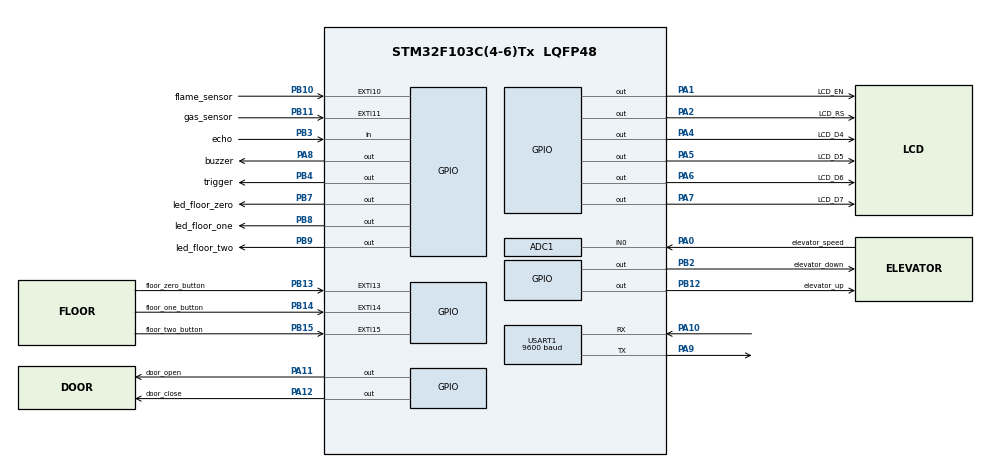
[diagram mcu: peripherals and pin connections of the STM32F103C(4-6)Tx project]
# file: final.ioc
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ADC1.Channel-0\#ChannelRegularConversion=ADC_CHANNEL_0
ADC1.NbrOfConversionFlag=1
ADC1.Rank-0\#ChannelRegularConversion=1
ADC1.SamplingTime-0\#ChannelRegularConversion=ADC_SAMPLETIME_1CYCLE_5
ADC1.master=1
Dma.ADC1.0.Direction=DMA_PERIPH_TO_MEMORY
Dma.ADC1.0.Instance=DMA1_Channel1
Dma.ADC1.0.MemDataAlignment=DMA_MDATAALIGN_HALFWORD
Dma.ADC1.0.MemInc=DMA_MINC_ENABLE
Dma.ADC1.0.Mode=DMA_NORMAL
Dma.ADC1.0.PeriphDataAlignment=DMA_PDATAALIGN_HALFWORD
Dma.ADC1.0.PeriphInc=DMA_PINC_DISABLE
Dma.ADC1.0.Priority=DMA_PRIORITY_LOW
Dma.Request0=ADC1
Mcu.Family=STM32F1
Mcu.Name=STM32F103C(4-6)Tx
Mcu.Package=LQFP48
NVIC.ADC1_2_IRQn=true\:0\:0\:false\:false\:true\:true\:true
NVIC.DMA1_Channel1_IRQn=true\:0\:0\:false\:false\:true\:false\:true
NVIC.EXTI15_10_IRQn=true\:0\:0\:false\:false\:true\:true\:true
NVIC.PriorityGroup=NVIC_PRIORITYGROUP_4
NVIC.TIM1_BRK_IRQn=true\:0\:0\:false\:false\:true\:true\:true
NVIC.TIM1_CC_IRQn=true\:0\:0\:false\:false\:true\:true\:true
NVIC.TIM1_TRG_COM_IRQn=true\:0\:0\:false\:false\:true\:true\:true
NVIC.TIM1_UP_IRQn=true\:0\:0\:false\:false\:true\:true\:true
NVIC.TIM2_IRQn=true\:0\:0\:false\:false\:true\:true\:true
NVIC.USART1_IRQn=true\:0\:0\:false\:false\:true\:true\:true
PA0-WKUP.GPIO_Label=elevator_speed
PA0-WKUP.Signal=ADCx_IN0
PA1.GPIO_Label=LCD_EN
PA1.Signal=GPIO_Output
PA10.Mode=Asynchronous
PA10.Signal=USART1_RX
PA11.GPIO_Label=door_open
PA11.Signal=GPIO_Output
PA12.GPIO_Label=door_close
PA12.Signal=GPIO_Output
PA13.Mode=Serial_Wire
PA13.Signal=SYS_JTMS-SWDIO
PA14.Mode=Serial_Wire
PA14.Signal=SYS_JTCK-SWCLK
PA2.GPIO_Label=LCD_RS
PA2.Signal=GPIO_Output
PA4.GPIO_Label=LCD_D4
PA4.Signal=GPIO_Output
PA5.GPIO_Label=LCD_D5
PA5.Signal=GPIO_Output
PA6.GPIO_Label=LCD_D6
PA6.Signal=GPIO_Output
PA7.GPIO_Label=LCD_D7
PA7.Signal=GPIO_Output
PA8.GPIO_Label=buzzer
PA8.Signal=GPIO_Output
PA9.Mode=Asynchronous
PA9.Signal=USART1_TX
PB10.GPIO_Label=flame_sensor
PB10.GPIO_ModeDefaultEXTI=GPIO_MODE_IT_RISING_FALLING
PB10.Signal=GPXTI10
PB11.GPIO_Label=gas_sensor
PB11.GPIO_ModeDefaultEXTI=GPIO_MODE_IT_RISING_FALLING
PB11.Signal=GPXTI11
PB12.GPIO_Label=elevator_up
PB12.Signal=GPIO_Output
PB13.GPIO_Label=floor_zero_button
PB13.Signal=GPXTI13
PB14.GPIO_Label=floor_one_button
PB14.Signal=GPXTI14
PB15.GPIO_Label=floor_two_button
PB15.Signal=GPXTI15
PB2.GPIO_Label=elevator_down
PB2.Signal=GPIO_Output
PB3.GPIO_Label=echo
PB3.Signal=GPIO_Input
PB4.GPIO_Label=trigger
PB4.Signal=GPIO_Output
PB7.GPIO_Label=led_floor_zero
PB7.Signal=GPIO_Output
PB8.GPIO_Label=led_floor_one
PB8.Signal=GPIO_Output
PB9.GPIO_Label=led_floor_two
PB9.Signal=GPIO_Output
PD0-OSC_IN.Mode=HSE-External-Oscillator
PD0-OSC_IN.Signal=RCC_OSC_IN
PD1-OSC_OUT.Mode=HSE-External-Oscillator
PD1-OSC_OUT.Signal=RCC_OSC_OUT
ProjectManager.HeapSize=0x200
ProjectManager.StackSize=0x400
ProjectManager.TargetToolchain=MDK-ARM V5.32
RCC.APB1Freq_Value=8000000
RCC.APB2Freq_Value=8000000
RCC.USBFreq_Value=8000000
SH.ADCx_IN0.0=ADC1_IN0,IN0
TIM1.Period=63999
TIM1.Prescaler=124
TIM2.Period=63999
TIM2.Prescaler=374
USART1.BaudRate=9600
USART1.VirtualMode=VM_ASYNC
VP_TIM1_VS_ClockSourceINT.Mode=Internal
VP_TIM2_VS_ClockSourceINT.Mode=Internal
board=custom

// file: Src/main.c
/* USER CODE BEGIN Header */
/**
  ******************************************************************************
  * @file           : main.c
  * @brief          : Main program body
  ******************************************************************************
  * @attention
  *
  * Copyright (c) 2022 STMicroelectronics.
  * All rights reserved.
  *
  * This software is licensed under terms that can be found in the LICENSE file
  * in the root directory of this software component.
  * If no LICENSE file comes with this software, it is provided AS-IS.
  *
  ******************************************************************************
  */
/* USER CODE END Header */
#include "main.h"

/* USER CODE BEGIN Includes */
#include "stdio.h"
#include "LCD.h"
/* USER CODE END Includes */

ADC_HandleTypeDef hadc1;
DMA_HandleTypeDef hdma_adc1;

TIM_HandleTypeDef htim1;
TIM_HandleTypeDef htim2;

UART_HandleTypeDef huart1;

/* USER CODE BEGIN PV */

/* USER CODE BEGIN PV */
uint16_t current_floor = 0;
uint16_t target_floor_array[3] = {0};
uint8_t up = 0;
uint8_t down = 0;
uint8_t door_request_array[3] = {0};
uint32_t adc_read = 2048;
uint8_t transmit_flag = 0;
uint16_t delay_percent;
uint16_t delay;
float distance = 0;

uint8_t last_ten_arrivals[10] = {NULL};
uint8_t ten_arrival_counters[3] = {0};
uint8_t arrival_counter = 0;
uint8_t arrival_target = 0;
uint8_t is_smart_move = 0;
uint8_t flag = 0;

uint8_t is_flame_sensor = 1;
uint8_t is_gas_sensor = 1;
/* USER CODE END PV */

void SystemClock_Config(void);
static void MX_GPIO_Init(void);
static void MX_USART1_UART_Init(void);
static void MX_TIM1_Init(void);
static void MX_TIM2_Init(void);
static void MX_DMA_Init(void);
static void MX_ADC1_Init(void);

/* USER CODE BEGIN 0 */
char data_transmit[256];
char data_floor[256];
uint8_t data_receive[1];
int len = 0;

void delay_us(uint16_t us)
{
	__HAL_TIM_SET_COUNTER(&htim2,0);  // set the counter value a 0
	while (__HAL_TIM_GET_COUNTER(&htim2) < us);  // wait for the counter to reach the us input in the parameter
}

float sensor_read()
{
	uint32_t time = 0;
	float distance_temp = 0;
	HAL_GPIO_WritePin(GPIOB, trigger_Pin, GPIO_PIN_RESET);
	delay_us(10);
	HAL_GPIO_WritePin(GPIOB, trigger_Pin, GPIO_PIN_SET);
	delay_us(10);
	HAL_GPIO_WritePin(GPIOB, trigger_Pin, GPIO_PIN_RESET);
	delay_us(10);
	while (!HAL_GPIO_ReadPin(GPIOB, echo_Pin));
	while (HAL_GPIO_ReadPin(GPIOB, echo_Pin))
	{
		time++;
		delay_us(1);
	}
	distance_temp = (float) time*0.87;
	delay_us(50);
	return distance_temp;
}

void init_system(void)
{
	distance = sensor_read();
	update_floor();
	close_door();
	data_receive[0] = 48;
	len = sprintf(data_transmit, "Floor: %d Distance: %f\r\n", data_receive[0] - 48, distance);
	delay_percent = 50;
	delay = (delay_percent * htim2.Init.Period) / 100;
}
/* USER CODE END 0 */

int main(void)
{

  /* MCU Configuration--------------------------------------------------------*/

  /* Reset of all peripherals, Initializes the Flash interface and the Systick. */
  HAL_Init();

  /* Configure the system clock */
  SystemClock_Config();

  /* Initialize all configured peripherals */
  MX_GPIO_Init();
  MX_USART1_UART_Init();
  MX_TIM1_Init();
  MX_TIM2_Init();
  MX_DMA_Init();
  MX_ADC1_Init();
  /* USER CODE BEGIN 2 */
	HAL_TIM_Base_Start_IT(&htim1);
	HAL_TIM_Base_Start_IT(&htim2);
	lcd_init(_LCD_4BIT, _LCD_FONT_5x8, _LCD_2LINE);
	lcd_print(1,1,"0");
	lcd_print(2,1,"-");
	HAL_ADC_Start_IT(&hadc1);
	HAL_ADCEx_Calibration_Start(&hadc1);

	HAL_UART_Receive_IT(&huart1, data_receive, sizeof(data_receive));
  /* USER CODE END 2 */

  /* Infinite loop */
  /* USER CODE BEGIN WHILE */
	init_system();
  while (1)
  {
		if (is_flame_sensor || is_gas_sensor) {

			if (is_flame_sensor && !is_gas_sensor) {
				lcd_print(1,1,"FLAME    ");
				lcd_print(2,1,"DETECTED");
			} else if (!is_flame_sensor && is_gas_sensor) {
				lcd_print(1,1,"GAS      ");
				lcd_print(2,1,"DETECTED");
			} else {
				lcd_print(1,1,"FLAME-GAS");
				lcd_print(2,1,"DETECTED");
			}

			delay_us(htim2.Init.Period / 3);
			continue;
		}

		delay_percent = (adc_read * 100)/4096;
		delay = (delay_percent * htim2.Init.Period) / 100;

		distance = sensor_read();
		if (distance == NULL || distance > 45 || distance < 0)
		{
			distance = 45.1;
			len = sprintf(data_transmit, "Distance: %f\r\nDistance values must be between 0 and 45 cm\r\nControl the distance sensor, Door will be open till sensor is corrected!\r\n", distance);
		}

		run_floor_logic();

		update_up_down();
		delay_us(delay);
		update_floor();

		run_door_logic();

		is_smart_move =  target_floor_array[0] == 0 &&  target_floor_array[1] == 0 &&  target_floor_array[2] == 0;
		if (is_smart_move) {
			arrival_target = find_arrival_target();
			is_smart_move = is_smart_move && (current_floor != arrival_target);
			if (is_smart_move) {
				target_floor_array[arrival_target] = 2;
				delay_us(htim2.Init.Period / 3);
			}
		}

    /* USER CODE END WHILE */

  }
}

void SystemClock_Config(void)
{
  RCC_OscInitTypeDef RCC_OscInitStruct = {0};
  RCC_ClkInitTypeDef RCC_ClkInitStruct = {0};
  RCC_PeriphCLKInitTypeDef PeriphClkInit = {0};

  /** Initializes the RCC Oscillators according to the specified parameters
  * in the RCC_OscInitTypeDef structure.
  */
  RCC_OscInitStruct.OscillatorType = RCC_OSCILLATORTYPE_HSI;
  RCC_OscInitStruct.HSIState = RCC_HSI_ON;
  RCC_OscInitStruct.HSICalibrationValue = RCC_HSICALIBRATION_DEFAULT;
  RCC_OscInitStruct.PLL.PLLState = RCC_PLL_NONE;
  if (HAL_RCC_OscConfig(&RCC_OscInitStruct) != HAL_OK)
  {
    Error_Handler();
  }
  /** Initializes the CPU, AHB and APB buses clocks
  */
  RCC_ClkInitStruct.ClockType = RCC_CLOCKTYPE_HCLK|RCC_CLOCKTYPE_SYSCLK
                              |RCC_CLOCKTYPE_PCLK1|RCC_CLOCKTYPE_PCLK2;
  RCC_ClkInitStruct.SYSCLKSource = RCC_SYSCLKSOURCE_HSI;
  RCC_ClkInitStruct.AHBCLKDivider = RCC_SYSCLK_DIV1;
  RCC_ClkInitStruct.APB1CLKDivider = RCC_HCLK_DIV1;
  RCC_ClkInitStruct.APB2CLKDivider = RCC_HCLK_DIV1;

  if (HAL_RCC_ClockConfig(&RCC_ClkInitStruct, FLASH_LATENCY_0) != HAL_OK)
  {
    Error_Handler();
  }
  PeriphClkInit.PeriphClockSelection = RCC_PERIPHCLK_ADC;
  PeriphClkInit.AdcClockSelection = RCC_ADCPCLK2_DIV2;
  if (HAL_RCCEx_PeriphCLKConfig(&PeriphClkInit) != HAL_OK)
  {
    Error_Handler();
  }
}

static void MX_ADC1_Init(void)
{

  ADC_ChannelConfTypeDef sConfig = {0};

  /** Common config
  */
  hadc1.Instance = ADC1;
  hadc1.Init.ScanConvMode = ADC_SCAN_DISABLE;
  hadc1.Init.ContinuousConvMode = DISABLE;
  hadc1.Init.DiscontinuousConvMode = DISABLE;
  hadc1.Init.ExternalTrigConv = ADC_SOFTWARE_START;
  hadc1.Init.DataAlign = ADC_DATAALIGN_RIGHT;
  hadc1.Init.NbrOfConversion = 1;
  if (HAL_ADC_Init(&hadc1) != HAL_OK)
  {
    Error_Handler();
  }
  /** Configure Regular Channel
  */
  sConfig.Channel = ADC_CHANNEL_0;
  sConfig.Rank = ADC_REGULAR_RANK_1;
  sConfig.SamplingTime = ADC_SAMPLETIME_1CYCLE_5;
  if (HAL_ADC_ConfigChannel(&hadc1, &sConfig) != HAL_OK)
  {
    Error_Handler();
  }

}

static void MX_TIM1_Init(void)
{

  TIM_ClockConfigTypeDef sClockSourceConfig = {0};
  TIM_MasterConfigTypeDef sMasterConfig = {0};

  htim1.Instance = TIM1;
  htim1.Init.Prescaler = 124;
  htim1.Init.CounterMode = TIM_COUNTERMODE_UP;
  htim1.Init.Period = 63999;
  htim1.Init.ClockDivision = TIM_CLOCKDIVISION_DIV1;
  htim1.Init.RepetitionCounter = 0;
  htim1.Init.AutoReloadPreload = TIM_AUTORELOAD_PRELOAD_DISABLE;
  if (HAL_TIM_Base_Init(&htim1) != HAL_OK)
  {
    Error_Handler();
  }
  sClockSourceConfig.ClockSource = TIM_CLOCKSOURCE_INTERNAL;
  if (HAL_TIM_ConfigClockSource(&htim1, &sClockSourceConfig) != HAL_OK)
  {
    Error_Handler();
  }
  sMasterConfig.MasterOutputTrigger = TIM_TRGO_RESET;
  sMasterConfig.MasterSlaveMode = TIM_MASTERSLAVEMODE_DISABLE;
  if (HAL_TIMEx_MasterConfigSynchronization(&htim1, &sMasterConfig) != HAL_OK)
  {
    Error_Handler();
  }

}

static void MX_TIM2_Init(void)
{

  TIM_ClockConfigTypeDef sClockSourceConfig = {0};
  TIM_MasterConfigTypeDef sMasterConfig = {0};

  htim2.Instance = TIM2;
  htim2.Init.Prescaler = 374;
  htim2.Init.CounterMode = TIM_COUNTERMODE_UP;
  htim2.Init.Period = 63999;
  htim2.Init.ClockDivision = TIM_CLOCKDIVISION_DIV1;
  htim2.Init.AutoReloadPreload = TIM_AUTORELOAD_PRELOAD_DISABLE;
  if (HAL_TIM_Base_Init(&htim2) != HAL_OK)
  {
    Error_Handler();
  }
  sClockSourceConfig.ClockSource = TIM_CLOCKSOURCE_INTERNAL;
  if (HAL_TIM_ConfigClockSource(&htim2, &sClockSourceConfig) != HAL_OK)
  {
    Error_Handler();
  }
  sMasterConfig.MasterOutputTrigger = TIM_TRGO_RESET;
  sMasterConfig.MasterSlaveMode = TIM_MASTERSLAVEMODE_DISABLE;
  if (HAL_TIMEx_MasterConfigSynchronization(&htim2, &sMasterConfig) != HAL_OK)
  {
    Error_Handler();
  }

}

static void MX_USART1_UART_Init(void)
{

  huart1.Instance = USART1;
  huart1.Init.BaudRate = 9600;
  huart1.Init.WordLength = UART_WORDLENGTH_8B;
  huart1.Init.StopBits = UART_STOPBITS_1;
  huart1.Init.Parity = UART_PARITY_NONE;
  huart1.Init.Mode = UART_MODE_TX_RX;
  huart1.Init.HwFlowCtl = UART_HWCONTROL_NONE;
  huart1.Init.OverSampling = UART_OVERSAMPLING_16;
  if (HAL_UART_Init(&huart1) != HAL_OK)
  {
    Error_Handler();
  }

}

static void MX_DMA_Init(void)
{

  /* DMA controller clock enable */
  __HAL_RCC_DMA1_CLK_ENABLE();

  /* DMA interrupt init */
  /* DMA1_Channel1_IRQn interrupt configuration */
  HAL_NVIC_SetPriority(DMA1_Channel1_IRQn, 0, 0);
  HAL_NVIC_EnableIRQ(DMA1_Channel1_IRQn);

}

static void MX_GPIO_Init(void)
{
  GPIO_InitTypeDef GPIO_InitStruct = {0};

  /* GPIO Ports Clock Enable */
  __HAL_RCC_GPIOD_CLK_ENABLE();
  __HAL_RCC_GPIOA_CLK_ENABLE();
  __HAL_RCC_GPIOB_CLK_ENABLE();

  /*Configure GPIO pin Output Level */
  HAL_GPIO_WritePin(GPIOA, LCD_EN_Pin|LCD_RS_Pin|LCD_D4_Pin|LCD_D5_Pin
                          |LCD_D6_Pin|LCD_D7_Pin|buzzer_Pin|door_open_Pin
                          |door_close_Pin, GPIO_PIN_RESET);

  /*Configure GPIO pin Output Level */
  HAL_GPIO_WritePin(GPIOB, elevator_down_Pin|elevator_up_Pin|trigger_Pin|led_floor_zero_Pin
                          |led_floor_one_Pin|led_floor_two_Pin, GPIO_PIN_RESET);

  /*Configure GPIO pins : LCD_EN_Pin LCD_RS_Pin LCD_D4_Pin LCD_D5_Pin
                           LCD_D6_Pin LCD_D7_Pin buzzer_Pin door_open_Pin
                           door_close_Pin */
  GPIO_InitStruct.Pin = LCD_EN_Pin|LCD_RS_Pin|LCD_D4_Pin|LCD_D5_Pin
                          |LCD_D6_Pin|LCD_D7_Pin|buzzer_Pin|door_open_Pin
                          |door_close_Pin;
  GPIO_InitStruct.Mode = GPIO_MODE_OUTPUT_PP;
  GPIO_InitStruct.Pull = GPIO_NOPULL;
  GPIO_InitStruct.Speed = GPIO_SPEED_FREQ_LOW;
  HAL_GPIO_Init(GPIOA, &GPIO_InitStruct);

  /*Configure GPIO pins : elevator_down_Pin elevator_up_Pin trigger_Pin led_floor_zero_Pin
                           led_floor_one_Pin led_floor_two_Pin */
  GPIO_InitStruct.Pin = elevator_down_Pin|elevator_up_Pin|trigger_Pin|led_floor_zero_Pin
                          |led_floor_one_Pin|led_floor_two_Pin;
  GPIO_InitStruct.Mode = GPIO_MODE_OUTPUT_PP;
  GPIO_InitStruct.Pull = GPIO_NOPULL;
  GPIO_InitStruct.Speed = GPIO_SPEED_FREQ_LOW;
  HAL_GPIO_Init(GPIOB, &GPIO_InitStruct);

  /*Configure GPIO pins : flame_sensor_Pin gas_sensor_Pin */
  GPIO_InitStruct.Pin = flame_sensor_Pin|gas_sensor_Pin;
  GPIO_InitStruct.Mode = GPIO_MODE_IT_RISING_FALLING;
  GPIO_InitStruct.Pull = GPIO_NOPULL;
  HAL_GPIO_Init(GPIOB, &GPIO_InitStruct);

  /*Configure GPIO pins : floor_zero_button_Pin floor_one_button_Pin floor_two_button_Pin */
  GPIO_InitStruct.Pin = floor_zero_button_Pin|floor_one_button_Pin|floor_two_button_Pin;
  GPIO_InitStruct.Mode = GPIO_MODE_IT_RISING;
  GPIO_InitStruct.Pull = GPIO_NOPULL;
  HAL_GPIO_Init(GPIOB, &GPIO_InitStruct);

  /*Configure GPIO pin : echo_Pin */
  GPIO_InitStruct.Pin = echo_Pin;
  GPIO_InitStruct.Mode = GPIO_MODE_INPUT;
  GPIO_InitStruct.Pull = GPIO_NOPULL;
  HAL_GPIO_Init(echo_GPIO_Port, &GPIO_InitStruct);

  /* EXTI interrupt init*/
  HAL_NVIC_SetPriority(EXTI15_10_IRQn, 0, 0);
  HAL_NVIC_EnableIRQ(EXTI15_10_IRQn);

}

/* USER CODE BEGIN 4 */
void HAL_UART_RxCpltCallback(UART_HandleTypeDef *huart) {

	HAL_UART_Receive_IT(&huart1, (uint8_t*) data_receive, sizeof(data_receive));

		if (data_receive[0] == 48) {
			target_floor_array[0] = 1;
		} else if (data_receive[0] == 49) {
			target_floor_array[1] = 1;
		} else if (data_receive[0] == 50) {
			target_floor_array[2] = 1;
		}
}

void run_floor_logic(void) {
	if(target_floor_array[0] || target_floor_array[0]==2){
			if (current_floor > 0) {
				current_floor--;
				down = 1;
			} else {
				if (target_floor_array[0] == 1 && target_floor_array[0] !=2 ) run_smart_movement_algorithm(0);
				target_floor_array[0] = 0;
				door_request_array[0] = 1;
			}
		} else if(target_floor_array[1] || target_floor_array[1]==2){
			if (current_floor == 0) {
				current_floor++;
				up = 1;
			} else if(current_floor==2){
				current_floor--;
				down = 1;
			} else {
				if (target_floor_array[1] == 1 && target_floor_array[1] !=2) run_smart_movement_algorithm(1);
				target_floor_array[1] = 0;
				door_request_array[1] = 1;
			}
		} else if (target_floor_array[2] || target_floor_array[2]==2) {
			if (current_floor < 2) {
				current_floor++;
				up = 1;
			} else {
				if (target_floor_array[2] == 1 && target_floor_array[2] != 2) run_smart_movement_algorithm(2);
				target_floor_array[2] = 0;
				door_request_array[2] = 1;
			}
		}
}

void run_door_logic(void) {
	if (door_request_array[current_floor]) {
			open_door();
			run_buzzer();

			while (distance < 40 || distance > 45) {
				distance = sensor_read();
				run_buzzer();
			}

			close_door();
			door_request_array[current_floor] = 0;
		}
}

void run_smart_movement_algorithm(uint16_t floor) {
		if (flag) {
			int second_time = last_ten_arrivals[arrival_counter];
			ten_arrival_counters[second_time] = ten_arrival_counters[second_time] - 1;
		}
		last_ten_arrivals[arrival_counter++] = floor;
		ten_arrival_counters[floor]++;
		if (arrival_counter == 10) {
			arrival_counter = 0;
			flag = 1;
		}
}

uint8_t find_arrival_target(void) {
	uint8_t target = 2;
	for (int i = 2; i >= 0; i--) {
		if (ten_arrival_counters[i] >= ten_arrival_counters[target])
			target = (uint8_t) i;
	}

	return target;
}

void run_buzzer(void) {
	delay_us(htim2.Init.Period / 3);
	HAL_GPIO_WritePin(GPIOA, buzzer_Pin, GPIO_PIN_SET);
	delay_us(htim2.Init.Period / 3);
	HAL_GPIO_WritePin(GPIOA, buzzer_Pin, GPIO_PIN_RESET);
}

void update_floor(void) {
	GPIO_PinState zero = current_floor == 0 ? GPIO_PIN_SET : GPIO_PIN_RESET;
	GPIO_PinState one = current_floor == 1 ? GPIO_PIN_SET : GPIO_PIN_RESET;
	GPIO_PinState two = current_floor == 2 ? GPIO_PIN_SET : GPIO_PIN_RESET;

	HAL_GPIO_WritePin(GPIOB, GPIO_PIN_7, zero);
	HAL_GPIO_WritePin(GPIOB, GPIO_PIN_8, one);
	HAL_GPIO_WritePin(GPIOB, GPIO_PIN_9, two);

	sprintf(data_floor, "%d        ", current_floor);
	lcd_print(1,1, data_floor);

	if (data_receive[0] < 48 || data_receive[0] > 50) {
		len = sprintf(data_transmit, "Avaliable floors are: 0 - 1 - 2\r\n");
	} else {
		len = sprintf(data_transmit, "\r\nFloor: %d Distance: %f\r\nArrival Target: %d\r\nLast ten arrivals: [%d, %d, %d]\r\nADC: %d\r\n", current_floor, distance, arrival_target, ten_arrival_counters[0], ten_arrival_counters[1], ten_arrival_counters[2], adc_read );
	}

	up = 0;
	down = 0;
}

void open_door(void) {
	HAL_GPIO_WritePin(GPIOA, GPIO_PIN_11, GPIO_PIN_SET);
	HAL_GPIO_WritePin(GPIOA, GPIO_PIN_12, GPIO_PIN_RESET);
}

void close_door(void) {
	HAL_GPIO_WritePin(GPIOA, GPIO_PIN_11, GPIO_PIN_RESET);
	HAL_GPIO_WritePin(GPIOA, GPIO_PIN_12, GPIO_PIN_SET);
}

void update_up_down(void) {
	GPIO_PinState up_state = up == 1 ? GPIO_PIN_SET : GPIO_PIN_RESET;
	GPIO_PinState down_state = down == 1 ? GPIO_PIN_SET : GPIO_PIN_RESET;

	HAL_GPIO_WritePin(GPIOB, GPIO_PIN_12, up_state);
	HAL_GPIO_WritePin(GPIOB, GPIO_PIN_2, down_state);

	if (up) {
		lcd_print(2,1,"UP       ");
	} else if (down) {
		lcd_print(2,1,"DOWN     ");
	} else {
		lcd_print(2,1,"STAY     ");
	}

}
/* USER CODE END 4 */

void Error_Handler(void)
{
  __disable_irq();
  while (1)
  {
  }
}
